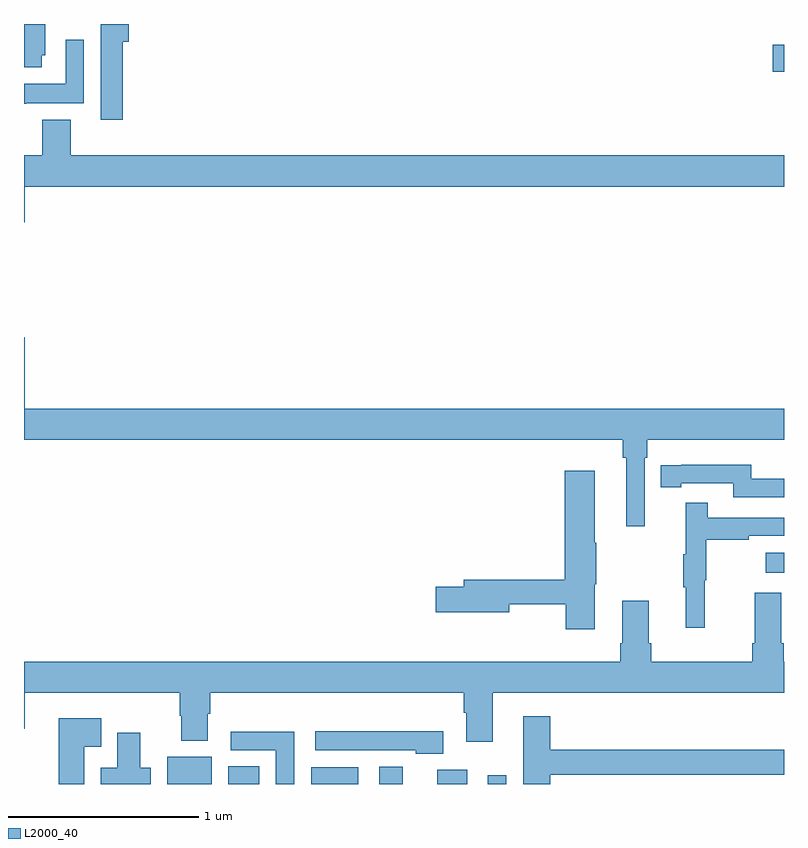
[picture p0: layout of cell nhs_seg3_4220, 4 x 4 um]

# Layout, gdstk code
import gdstk
lib = gdstk.Library(unit=1e-6, precision=1e-09)
def R(c, l, rs):  # rectangles x0, y0, x1, y1
    for r in rs: c.add(gdstk.rectangle(r[:2], r[2:], *l))
def P(c, l, *ps):  # polygons
    for p in ps: c.add(gdstk.Polygon(p, *l))
L2000_40 = (2000, 40)

nhs_seg3_4220 = lib.new_cell('nhs_seg3_4220')
R(nhs_seg3_4220, L2000_40, [(333.755,736.4,333.988,736.543), (334.076,736.4,334.237,736.493), (334.511,736.4,334.759,736.488), (334.871,736.4,334.993,736.492), (335.174,736.4,335.332,736.474), (335.442,736.4,335.538,736.447), (336.903,737.513,337,737.617), (336.942,740.149,337,740.291)])
P(nhs_seg3_4220, L2000_40, [(333.521,740.306),(333.551,740.306),(333.551,740.4),(333.405,740.4),(333.405,739.896),(333.521,739.896)],
  [(333.094,740.235),(333.112,740.235),(333.112,740.4),(333,740.4),(333,740.172),(333.094,740.172)],
  [(333.011,739.982),(333.315,739.982),(333.315,740.317),(333.219,740.317),(333.219,740.086),(333,740.086),(333,739.98),(333.011,739.98)],
  [(333.004,739.544),(337,739.544),(337,739.708),(333.247,739.708),(333.247,739.897),(333.095,739.897),(333.095,739.708),(333,739.708),(333,739.356),(333.004,739.356)],
  [(336.267,738.116),(336.281,738.116),(336.281,738.212),(337,738.212),(337,738.376),(333.004,738.376),(333.004,738.751),(333,738.751),(333,738.212),(336.151,738.212),(336.151,738.116),(336.17,738.116),(336.17,737.757),(336.267,737.757)],
  [(337,738.006),(336.828,738.006),(336.828,738.079),(336.46,738.079),(336.46,738.078),(336.352,738.078),(336.352,737.962),(336.46,737.962),(336.46,737.982),(336.732,737.982),(336.732,737.91),(337,737.91)],
  [(336.004,737.451),(336.012,737.451),(336.012,737.669),(336.004,737.669),(336.004,738.049),(335.846,738.049),(335.846,737.474),(335.315,737.474),(335.315,737.438),(335.166,737.438),(335.166,737.303),(335.554,737.303),(335.554,737.346),(335.851,737.346),(335.851,737.214),(336.004,737.214)],
  [(336.584,737.472),(336.592,737.472),(336.592,737.686),(336.815,737.686),(336.815,737.706),(337,737.706),(337,737.802),(336.599,737.802),(336.599,737.881),(336.482,737.881),(336.482,737.609),(336.471,737.609),(336.471,737.435),(336.482,737.435),(336.482,737.223),(336.584,737.223)],
  [(335.467,736.88),(337,736.88),(337,737.044),(336.998,737.044),(336.998,737.14),(336.985,737.14),(336.985,737.407),(336.845,737.407),(336.845,737.14),(336.833,737.14),(336.833,737.044),(336.302,737.044),(336.302,737.14),(336.289,737.14),(336.289,737.365),(336.149,737.365),(336.149,737.14),(336.137,737.14),(336.137,737.044),(333,737.044),(333,736.692),(333.004,736.692),(333.004,736.88),(333.82,736.88),(333.82,736.76),(333.827,736.76),(333.827,736.628),(333.967,736.628),(333.967,736.771),(333.98,736.771),(333.98,736.88),(335.315,736.88),(335.315,736.774),(335.327,736.774),(335.327,736.623),(335.467,736.623)],
  [(335.771,736.45),(337,736.45),(337,736.579),(335.771,736.579),(335.771,736.756),(335.627,736.756),(335.627,736.4),(335.771,736.4)],
  [(333.316,736.595),(333.406,736.595),(333.406,736.747),(333.182,736.747),(333.182,736.4),(333.316,736.4)],
  [(335.206,736.678),(334.533,736.678),(334.533,736.577),(335.061,736.577),(335.061,736.559),(335.206,736.559)],
  [(334.422,736.676),(334.089,736.676),(334.089,736.578),(334.326,736.578),(334.326,736.4),(334.422,736.4)],
  [(333.667,736.486),(333.613,736.486),(333.613,736.669),(333.491,736.669),(333.491,736.486),(333.404,736.486),(333.404,736.4),(333.667,736.4)])

lib.write_gds('nhs_seg3_4220.gds')
